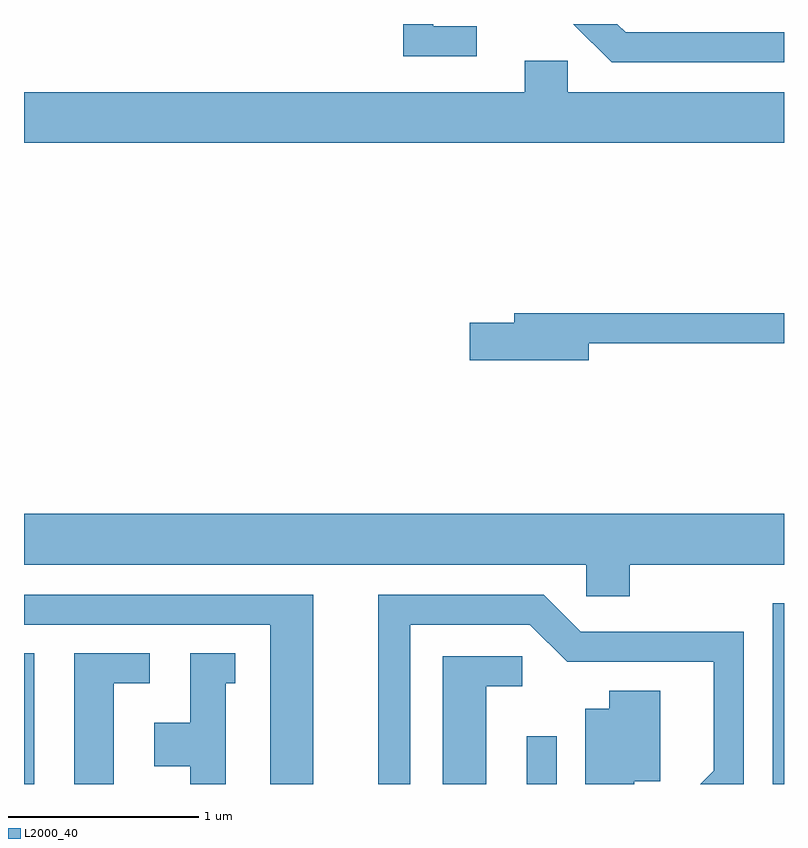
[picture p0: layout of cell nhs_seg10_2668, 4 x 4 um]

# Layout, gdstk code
import gdstk
lib = gdstk.Library(unit=1e-6, precision=1e-09)
def R(c, l, rs):  # rectangles x0, y0, x1, y1
    for r in rs: c.add(gdstk.rectangle(r[:2], r[2:], *l))
def P(c, l, *ps):  # polygons
    for p in ps: c.add(gdstk.Polygon(p, *l))
L2000_40 = (2000, 40)

nhs_seg10_2668 = lib.new_cell('nhs_seg10_2668')
R(nhs_seg10_2668, L2000_40, [(263.611,2130.522,263.664,2131.209), (266.256,2130.522,266.414,2130.773), (267.551,2130.522,267.611,2131.474)])
P(nhs_seg10_2668, L2000_40, [(267.611,2134.479),(266.777,2134.479),(266.734,2134.522),(266.503,2134.522),(266.704,2134.321),(267.611,2134.321)],
  [(265.993,2134.509),(265.764,2134.509),(265.764,2134.522),(265.606,2134.522),(265.606,2134.351),(265.993,2134.351)],
  [(267.611,2134.164),(266.474,2134.164),(266.474,2134.329),(266.246,2134.329),(266.246,2134.164),(263.611,2134.164),(263.611,2133.896),(267.611,2133.896)],
  [(266.584,2132.841),(267.611,2132.841),(267.611,2132.999),(266.191,2132.999),(266.191,2132.949),(265.956,2132.949),(265.956,2132.751),(266.584,2132.751)],
  [(266.799,2131.676),(267.611,2131.676),(267.611,2131.944),(263.611,2131.944),(263.611,2131.676),(266.571,2131.676),(266.571,2131.511),(266.799,2131.511)],
  [(265.644,2131.361),(266.274,2131.361),(266.469,2131.166),(267.241,2131.166),(267.241,2130.592),(267.171,2130.522),(267.399,2130.522),(267.399,2131.324),(266.542,2131.324),(266.347,2131.519),(265.476,2131.519),(265.476,2130.522),(265.644,2130.522)],
  [(265.134,2131.519),(263.611,2131.519),(263.611,2131.361),(264.906,2131.361),(264.906,2130.522),(265.134,2130.522)],
  [(264.084,2131.051),(264.273,2131.051),(264.273,2131.209),(263.876,2131.209),(263.876,2130.522),(264.084,2130.522)],
  [(264.674,2131.051),(264.723,2131.051),(264.723,2131.209),(264.486,2131.209),(264.486,2130.844),(264.296,2130.844),(264.296,2130.616),(264.486,2130.616),(264.486,2130.522),(264.674,2130.522)],
  [(266.044,2131.036),(266.233,2131.036),(266.233,2131.194),(265.816,2131.194),(265.816,2130.522),(266.044,2130.522)],
  [(266.824,2130.536),(266.959,2130.536),(266.959,2131.014),(266.691,2131.014),(266.691,2130.919),(266.566,2130.919),(266.566,2130.522),(266.824,2130.522)])

lib.write_gds('nhs_seg10_2668.gds')
